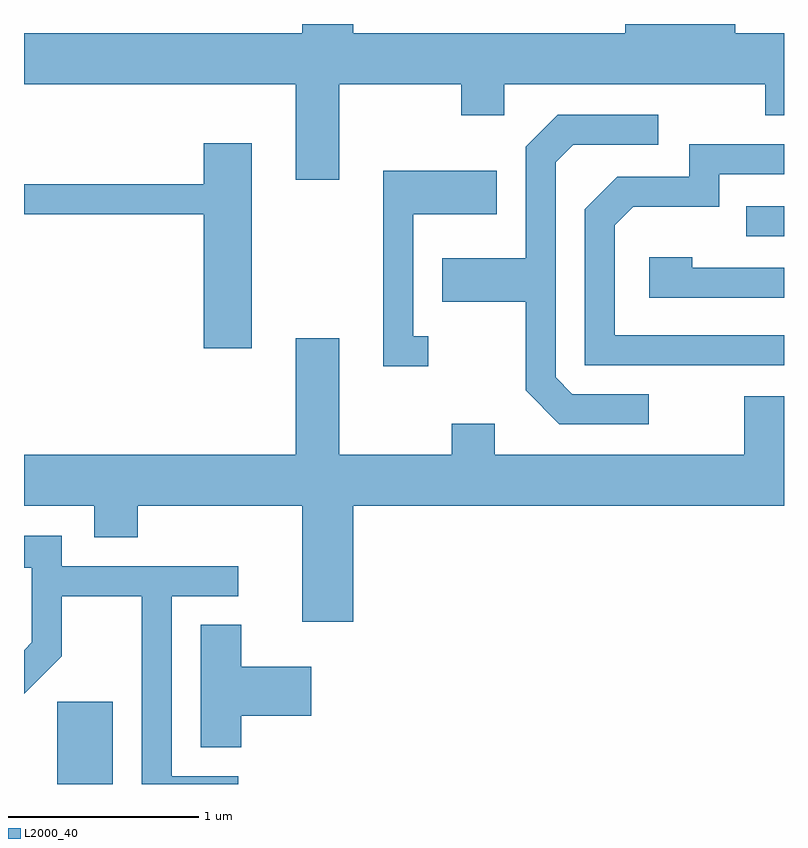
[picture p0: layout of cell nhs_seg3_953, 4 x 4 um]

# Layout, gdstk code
import gdstk
lib = gdstk.Library(unit=1e-6, precision=1e-09)
def R(c, l, rs):  # rectangles x0, y0, x1, y1
    for r in rs: c.add(gdstk.rectangle(r[:2], r[2:], *l))
def P(c, l, *ps):  # polygons
    for p in ps: c.add(gdstk.Polygon(p, *l))
L2000_40 = (2000, 40)

nhs_seg3_953 = lib.new_cell('nhs_seg3_953')
R(nhs_seg3_953, L2000_40, [(213.786,1117.892,214.079,1118.324), (217.413,1120.776,217.611,1120.934)])
P(nhs_seg3_953, L2000_40, [(215.269,1121.576),(215.911,1121.576),(215.911,1121.411),(216.139,1121.411),(216.139,1121.576),(217.511,1121.576),(217.511,1121.411),(217.611,1121.411),(217.611,1121.844),(217.354,1121.844),(217.354,1121.892),(216.776,1121.892),(216.776,1121.844),(215.344,1121.844),(215.344,1121.892),(215.076,1121.892),(215.076,1121.844),(213.611,1121.844),(213.611,1121.576),(215.041,1121.576),(215.041,1121.071),(215.269,1121.071)],
  [(216.898,1119.944),(216.497,1119.944),(216.409,1120.032),(216.409,1121.164),(216.502,1121.256),(216.948,1121.256),(216.948,1121.414),(216.419,1121.414),(216.251,1121.247),(216.251,1120.659),(215.811,1120.659),(215.811,1120.431),(216.251,1120.431),(216.251,1119.964),(216.429,1119.786),(216.898,1119.786)],
  [(214.809,1121.264),(214.556,1121.264),(214.556,1121.049),(213.611,1121.049),(213.611,1120.891),(214.556,1120.891),(214.556,1120.186),(214.809,1120.186)],
  [(217.611,1120.254),(216.719,1120.254),(216.719,1120.834),(216.817,1120.931),(217.269,1120.931),(217.269,1121.101),(217.611,1121.101),(217.611,1121.259),(217.111,1121.259),(217.111,1121.089),(216.734,1121.089),(216.561,1120.917),(216.561,1120.096),(217.611,1120.096)],
  [(215.738,1120.249),(215.659,1120.249),(215.659,1120.891),(216.099,1120.891),(216.099,1121.119),(215.501,1121.119),(215.501,1120.091),(215.738,1120.091)],
  [(217.611,1120.609),(217.129,1120.609),(217.129,1120.664),(216.901,1120.664),(216.901,1120.451),(217.611,1120.451)],
  [(215.344,1119.356),(217.611,1119.356),(217.611,1119.934),(217.401,1119.934),(217.401,1119.624),(216.089,1119.624),(216.089,1119.789),(215.861,1119.789),(215.861,1119.624),(215.269,1119.624),(215.269,1120.239),(215.041,1120.239),(215.041,1119.624),(213.611,1119.624),(213.611,1119.356),(213.981,1119.356),(213.981,1119.191),(214.209,1119.191),(214.209,1119.356),(215.076,1119.356),(215.076,1118.746),(215.344,1118.746)],
  [(214.738,1117.934),(214.389,1117.934),(214.389,1118.881),(214.738,1118.881),(214.738,1119.039),(213.809,1119.039),(213.809,1119.199),(213.611,1119.199),(213.611,1119.031),(213.651,1119.031),(213.651,1118.637),(213.611,1118.597),(213.611,1118.366),(213.809,1118.564),(213.809,1118.881),(214.231,1118.881),(214.231,1117.892),(214.738,1117.892)],
  [(214.754,1118.251),(215.124,1118.251),(215.124,1118.509),(214.754,1118.509),(214.754,1118.729),(214.541,1118.729),(214.541,1118.086),(214.754,1118.086)])

lib.write_gds('nhs_seg3_953.gds')
